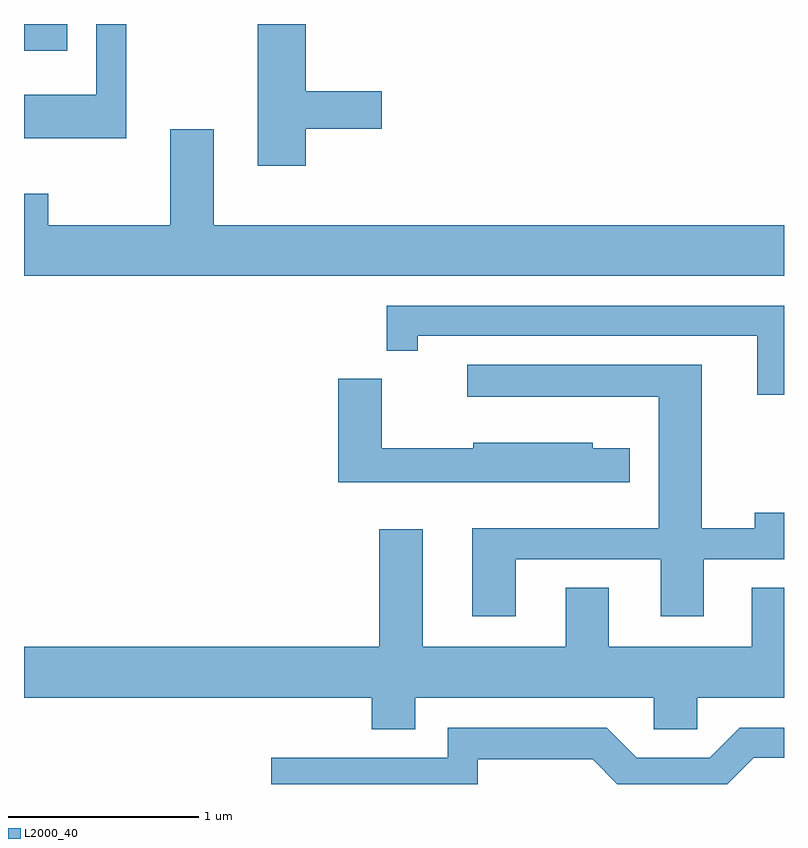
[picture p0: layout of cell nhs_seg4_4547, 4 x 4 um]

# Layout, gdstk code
import gdstk
lib = gdstk.Library(unit=1e-6, precision=1e-09)
def R(c, l, rs):  # rectangles x0, y0, x1, y1
    for r in rs: c.add(gdstk.rectangle(r[:2], r[2:], *l))
def P(c, l, *ps):  # polygons
    for p in ps: c.add(gdstk.Polygon(p, *l))
L2000_40 = (2000, 40)

nhs_seg4_4547 = lib.new_cell('nhs_seg4_4547')
R(nhs_seg4_4547, L2000_40, [(317.611,1375.841,317.839,1375.982)])
P(nhs_seg4_4547, L2000_40, [(318.149,1375.982),(317.991,1375.982),(317.991,1375.609),(317.611,1375.609),(317.611,1375.381),(318.149,1375.381)],
  [(319.094,1375.431),(319.494,1375.431),(319.494,1375.629),(319.094,1375.629),(319.094,1375.982),(318.841,1375.982),(318.841,1375.236),(319.094,1375.236)],
  [(321.611,1374.924),(318.609,1374.924),(318.609,1375.429),(318.381,1375.429),(318.381,1374.924),(317.739,1374.924),(317.739,1375.089),(317.611,1375.089),(317.611,1374.656),(321.611,1374.656)],
  [(321.611,1374.499),(319.521,1374.499),(319.521,1374.263),(319.684,1374.263),(319.684,1374.341),(321.471,1374.341),(321.471,1374.031),(321.611,1374.031)],
  [(320.199,1373.166),(320.961,1373.166),(320.961,1372.866),(321.189,1372.866),(321.189,1373.166),(321.611,1373.166),(321.611,1373.409),(321.456,1373.409),(321.456,1373.329),(321.179,1373.329),(321.179,1374.189),(319.943,1374.189),(319.943,1374.021),(320.951,1374.021),(320.951,1373.329),(319.971,1373.329),(319.971,1372.866),(320.199,1372.866)],
  [(320.799,1373.749),(320.604,1373.749),(320.604,1373.779),(319.976,1373.779),(319.976,1373.749),(319.494,1373.749),(319.494,1374.114),(319.266,1374.114),(319.266,1373.571),(320.799,1373.571)],
  [(319.669,1372.436),(320.926,1372.436),(320.926,1372.271),(321.154,1372.271),(321.154,1372.436),(321.611,1372.436),(321.611,1373.014),(321.441,1373.014),(321.441,1372.704),(320.689,1372.704),(320.689,1373.014),(320.461,1373.014),(320.461,1372.704),(319.709,1372.704),(319.709,1373.324),(319.481,1373.324),(319.481,1372.704),(317.611,1372.704),(317.611,1372.436),(319.441,1372.436),(319.441,1372.271),(319.669,1372.271)],
  [(319.999,1372.111),(320.604,1372.111),(320.733,1371.982),(321.313,1371.982),(321.452,1372.121),(321.611,1372.121),(321.611,1372.279),(321.379,1372.279),(321.219,1372.119),(320.837,1372.119),(320.677,1372.279),(319.841,1372.279),(319.841,1372.119),(318.913,1372.119),(318.913,1371.982),(319.999,1371.982)])

lib.write_gds('nhs_seg4_4547.gds')
